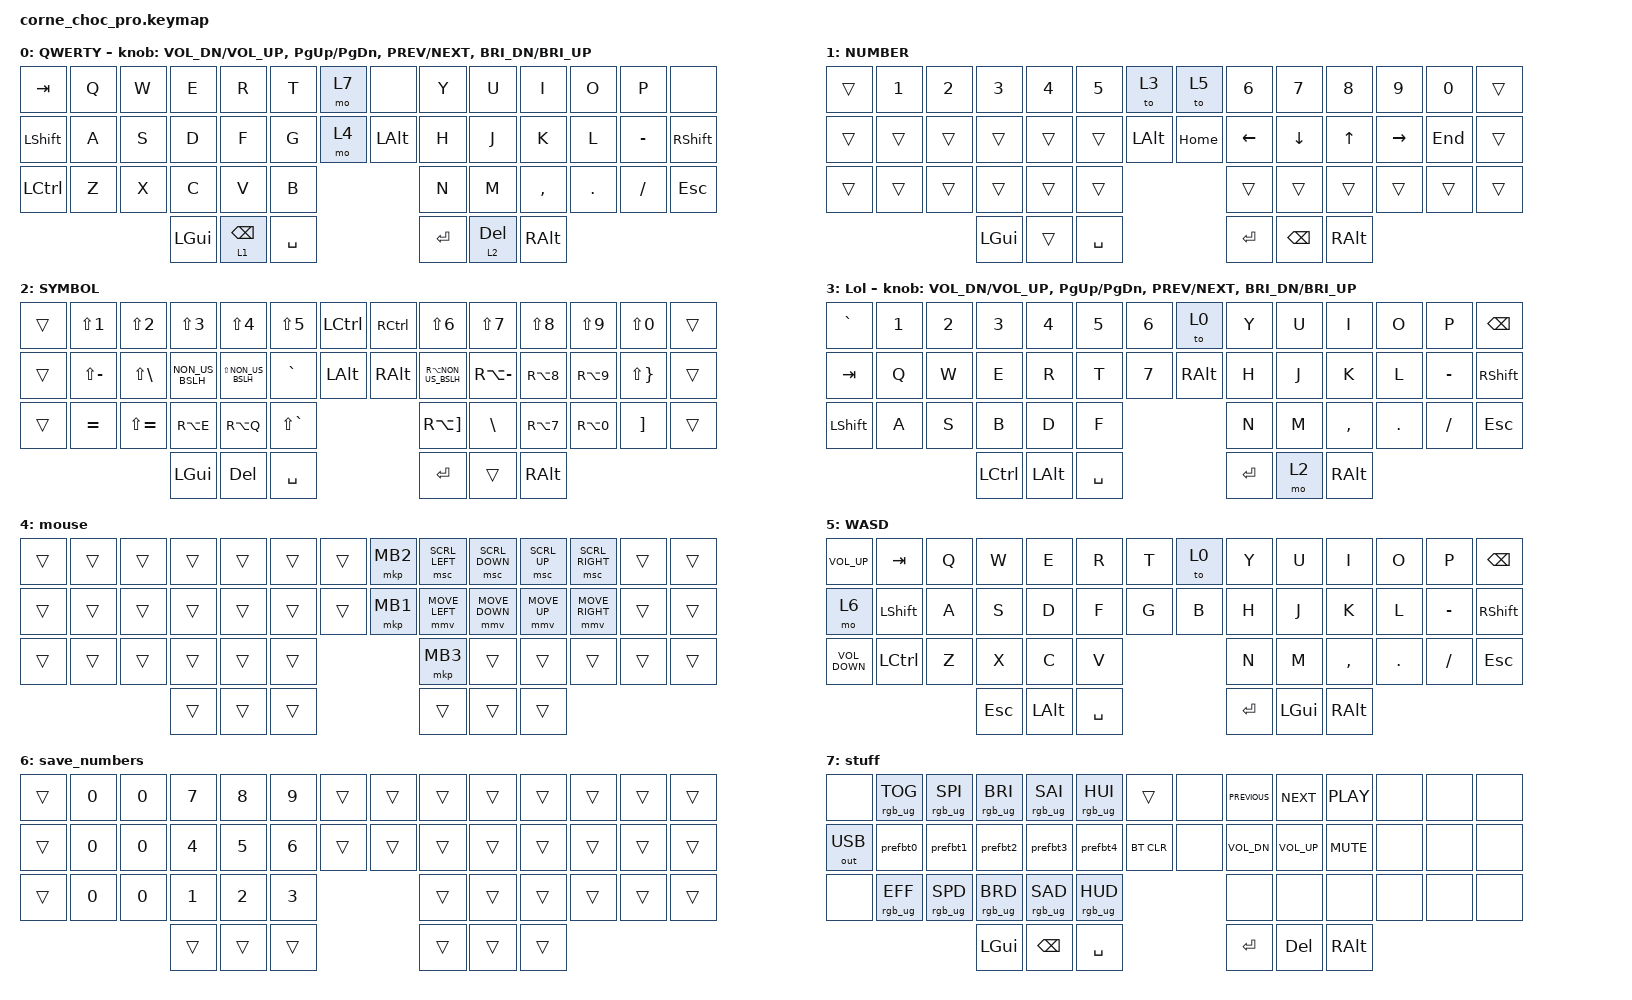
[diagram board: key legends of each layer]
/*
 * Copyright (c) 2020 The ZMK Contributors
 *
 * SPDX-License-Identifier: MIT
 */

#include <behaviors.dtsi>
#include <dt-bindings/zmk/bt.h>
#include <dt-bindings/zmk/keys.h>
#include <dt-bindings/zmk/outputs.h>
#include <dt-bindings/zmk/pointing.h>
#include <dt-bindings/zmk/rgb.h>

&lt { tapping-term-ms = <150>; };

/ {
    chosen { zmk,physical-layout = &default_layout; };
};

/ {
    macros {
        plover_activate: plover_activate {
            compatible = "zmk,behavior-macro";
            #binding-cells = <0>;
            bindings = <&kp LS(LA(LG(LC(RA(P))))) &to 0>;
            label = "PLOVER_ACTIVATE";
        };

        plover_disable: plover_disable {
            compatible = "zmk,behavior-macro";
            #binding-cells = <0>;
            bindings = <&kp LS(LA(LC(LG(RA(O))))) &to 0>;
            label = "PLOVER_DISABLE";
        };

        prefbt0: prefbt0 {
            compatible = "zmk,behavior-macro";
            #binding-cells = <0>;
            bindings = <&out OUT_BLE &bt BT_SEL 0>;
            label = "PREFBT1";
        };

        prefbt1: prefbt1 {
            compatible = "zmk,behavior-macro";
            #binding-cells = <0>;
            bindings = <&out OUT_BLE &bt BT_SEL 1>;
            label = "PREFBT2";
        };

        prefbt2: prefbt2 {
            compatible = "zmk,behavior-macro";
            #binding-cells = <0>;
            bindings = <&out OUT_BLE &bt BT_SEL 2>;
            label = "PREFBT2";
        };

        prefbt3: prefbt3 {
            compatible = "zmk,behavior-macro";
            #binding-cells = <0>;
            bindings = <&out OUT_BLE &bt BT_SEL 3>;
            label = "PREFBT3";
        };

        prefbt4: prefbt4 {
            compatible = "zmk,behavior-macro";
            #binding-cells = <0>;
            bindings = <&out OUT_BLE &bt BT_SEL 4>;
            label = "PREFBT4";
        };
    };

    combos {
        compatible = "zmk,combos";

        ae {
            bindings = <&kp SQT>;
            key-positions = <15 3>;
            layers = <0>;
        };

        ue {
            bindings = <&kp LEFT_BRACKET>;
            key-positions = <3 9>;
            layers = <0>;
        };

        oe {
            bindings = <&kp SEMICOLON>;
            key-positions = <3 11>;
            layers = <0>;
        };

        sz {
            bindings = <&kp MINUS>;
            key-positions = <16 8>;
            layers = <0>;
        };
    };

    keymap {
        compatible = "zmk,keymap";

        qwertz {
            display-name = "QWERTY";

            // --------------------------------------------------------------------------------
            // |  TAB |  Q  |  W  |  E  |  R  |  T  |  MUTE |  PP   |  Y  |  U   |  I  |  O  |  P  | BSPC |
            // | CTRL |  A  |  S  |  D  |  F  |  G  |  LALT |  RALT |  H  |  J   |  K  |  L  |  ;  |  '   |
            // | SHFT |  Z  |  X  |  C  |  V  |  B  |               |  N  |  M   |  ,  |  .  |  /  | ESC  |
            //                    | GUI | LWR | SPC |               | ENT | RSE  | ALT |

            bindings = <
&kp TAB           &kp Q  &kp W  &kp E     &kp R            &kp T      &mo 7  &none         &kp Y    &kp U         &kp I      &kp O    &kp P      &none
&kp LEFT_SHIFT    &kp A  &kp S  &kp D     &kp F            &kp G      &mo 4  &kp LEFT_ALT  &kp H    &kp J         &kp K      &kp L    &kp MINUS  &kp RIGHT_SHIFT
&kp LEFT_CONTROL  &kp Z  &kp X  &kp C     &kp V            &kp B                           &kp N    &kp M         &kp COMMA  &kp DOT  &kp FSLH   &kp ESC
                                &kp LGUI  &lt 1 BACKSPACE  &kp SPACE                       &kp RET  &lt 2 DELETE  &kp RALT
            >;

            sensor-bindings = <&inc_dec_kp C_VOL_DN C_VOL_UP &inc_dec_kp PG_UP PG_DN &inc_dec_kp C_PREV C_NEXT &inc_dec_kp C_BRI_DN C_BRI_UP>;
        };

        numbers {
            display-name = "NUMBER";

            // -----------------------------------------------------------------------------------------
            // |  TAB |  1  |  2  |  3  |  4  |  5    |  LCTRL | RCTRL |  6  |  7  |  8  |  9  |  0  | BSPC |
            // | CTRL | BT1 | BT2 | BT3 | BT4 | BT5   |  LALT  | RALT  | LFT | DWN |  UP | RGT |     |      |
            // | SHFT | BTCR| RGB | RST | BOOT| Unlock|        |       |     |     |     |     |     |      |
            //                    | GUI |     | SPC   |        | ENT   |     | ALT |

            bindings = <
&trans  &kp N1  &kp N2  &kp N3    &kp N4  &kp N5     &to 3     &to 5     &kp N6     &kp N7         &kp N8         &kp N9     &kp N0   &trans
&trans  &trans  &trans  &trans    &trans  &trans     &kp LALT  &kp HOME  &kp LEFT   &kp DOWN       &kp UP_ARROW   &kp RIGHT  &kp END  &trans
&trans  &trans  &trans  &trans    &trans  &trans                         &trans     &trans         &trans         &trans     &trans   &trans
                        &kp LGUI  &trans  &kp SPACE                      &kp ENTER  &kp BACKSPACE  &kp RIGHT_ALT
            >;
        };

        Symbols {
            display-name = "SYMBOL";

            // -----------------------------------------------------------------------------------------
            // |  TAB |  !  |  @  |  #  |  $  |  %  | LCTRL | RCTRL |  ^  |  &  |  *  |  (  |  )  | BSPC |
            // | CTRL |     |     |     |     |     |  LALT | RALT  |  -  |  =  |  [  |  ]  |  \  |  `   |
            // | SHFT |     |     |     |     |     |               |  _  |  +  |  {  |  }  | "|" |  ~   |
            //                    | GUI |     | SPC |               | ENT |     | ALT |

            bindings = <
&trans  &kp LS(NUMBER_1)  &kp LS(NUMBER_2)   &kp LS(NUMBER_3)  &kp LS(NUMBER_4)     &kp LS(N5)     &kp LCTRL  &kp RCTRL  &kp LS(NUMBER_6)       &kp LS(N7)     &kp LS(N8)  &kp LS(N9)  &kp LS(NUMBER_0)     &trans
&trans  &kp LS(MINUS)     &kp LS(BACKSLASH)  &kp NON_US_BSLH   &kp LS(NON_US_BSLH)  &kp GRAVE      &kp LALT   &kp RALT   &kp RA(NON_US_BSLH)    &kp RA(MINUS)  &kp RA(N8)  &kp RA(N9)  &kp LS(RIGHT_BRACE)  &trans
&trans  &kp EQUAL         &kp LS(EQUAL)      &kp RA(E)         &kp RA(Q)            &kp LS(GRAVE)                        &kp RA(RIGHT_BRACKET)  &kp BACKSLASH  &kp RA(N7)  &kp RA(N0)  &kp RIGHT_BRACKET    &trans
                                             &kp LGUI          &kp DELETE           &kp SPACE                            &kp RET                &trans         &kp RALT
            >;
        };

        Lol {
            display-name = "Lol";
            bindings = <
&kp GRAVE       &kp N1  &kp N2  &kp N3            &kp N4    &kp N5     &kp N6  &to 0     &kp Y    &kp U  &kp I      &kp O    &kp P      &kp BSPC
&kp TAB         &kp Q   &kp W   &kp E             &kp R     &kp T      &kp N7  &kp RALT  &kp H    &kp J  &kp K      &kp L    &kp MINUS  &kp RIGHT_SHIFT
&kp LEFT_SHIFT  &kp A   &kp S   &kp B             &kp D     &kp F                        &kp N    &kp M  &kp COMMA  &kp DOT  &kp FSLH   &kp ESC
                                &kp LEFT_CONTROL  &kp LALT  &kp SPACE                    &kp RET  &mo 2  &kp RALT
            >;

            sensor-bindings =
                <&inc_dec_kp C_VOL_DN C_VOL_UP>,
                <&inc_dec_kp PG_UP PG_DN>,
                <&inc_dec_kp C_PREV C_NEXT>,
                <&inc_dec_kp C_BRI_DN C_BRI_UP>;
        };

        mouse {
            display-name = "mouse";
            bindings = <
&trans  &trans  &trans  &trans  &trans  &trans  &trans  &mkp MB2  &msc SCRL_LEFT  &msc SCRL_DOWN  &msc SCRL_UP  &msc SCRL_RIGHT  &trans  &trans
&trans  &trans  &trans  &trans  &trans  &trans  &trans  &mkp MB1  &mmv MOVE_LEFT  &mmv MOVE_DOWN  &mmv MOVE_UP  &mmv MOVE_RIGHT  &trans  &trans
&trans  &trans  &trans  &trans  &trans  &trans                    &mkp MB3        &trans          &trans        &trans           &trans  &trans
                        &trans  &trans  &trans                    &trans          &trans          &trans
            >;
        };

        generic_gaming {
            display-name = "WASD";
            bindings = <
&kp C_VOLUME_UP    &kp TAB    &kp Q  &kp W    &kp E     &kp R      &kp T  &to 0  &kp Y      &kp U     &kp I      &kp O    &kp P      &kp BSPC
&mo 6              &kp LSHFT  &kp A  &kp S    &kp D     &kp F      &kp G  &kp B  &kp H      &kp J     &kp K      &kp L    &kp MINUS  &kp RSHFT
&kp C_VOLUME_DOWN  &kp LCTRL  &kp Z  &kp X    &kp C     &kp V                    &kp N      &kp M     &kp COMMA  &kp DOT  &kp FSLH   &kp ESCAPE
                                     &kp ESC  &kp LALT  &kp SPACE                &kp ENTER  &kp LGUI  &kp RALT
            >;
        };

        save_numbers {
            bindings = <
&trans  &kp N0  &kp N0  &kp N7  &kp N8  &kp N9  &trans  &trans  &trans  &trans  &trans  &trans  &trans  &trans
&trans  &kp N0  &kp N0  &kp N4  &kp N5  &kp N6  &trans  &trans  &trans  &trans  &trans  &trans  &trans  &trans
&trans  &kp N0  &kp N0  &kp N1  &kp N2  &kp N3                  &trans  &trans  &trans  &trans  &trans  &trans
                        &trans  &trans  &trans                  &trans  &trans  &trans
            >;
        };

        control {
            display-name = "stuff";
            bindings = <
&none         &rgb_ug RGB_TOG  &rgb_ug RGB_SPI  &rgb_ug RGB_BRI  &rgb_ug RGB_SAI  &rgb_ug RGB_HUI  &trans      &none  &kp C_PREVIOUS  &kp C_NEXT    &kp C_PLAY     &none  &none  &none
&out OUT_USB  &prefbt0         &prefbt1         &prefbt2         &prefbt3         &prefbt4         &bt BT_CLR  &none  &kp C_VOL_DN    &kp C_VOL_UP  &kp C_MUTE     &none  &none  &none
&none         &rgb_ug RGB_EFF  &rgb_ug RGB_SPD  &rgb_ug RGB_BRD  &rgb_ug RGB_SAD  &rgb_ug RGB_HUD                     &none           &none         &none          &none  &none  &none
                                                &kp LGUI         &kp BACKSPACE    &kp SPACE                           &kp ENTER       &kp DELETE    &kp RIGHT_ALT
            >;
        };
    };
};
